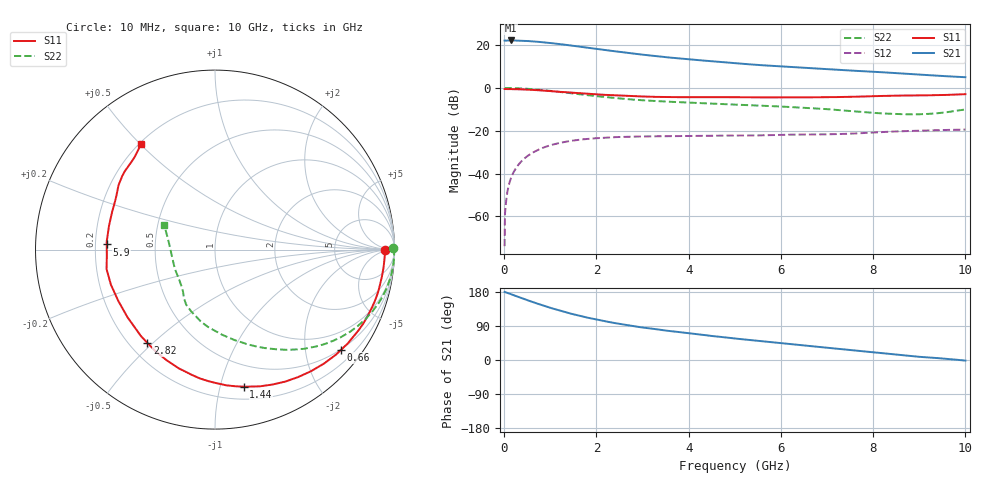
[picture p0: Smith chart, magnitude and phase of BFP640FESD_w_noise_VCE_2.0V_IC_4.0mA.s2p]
! Infineon Technologies  Discrete & RF Semiconductors
! BFP640FESD
! VCE =  2.0 V,  IC =  4.0 mA
! Common Emitter S-Parameters:  Jan 2016
# GHz  S  MA  R  50
!  f  S11  S21  S12  S22
! GHz  MAG  ANG  MAG  ANG  MAG  ANG  MAG  ANG
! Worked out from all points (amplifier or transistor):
!   233 points, 10 MHz to 10 GHz, reference 50 ohm
!   highest |S21| = 22.2 dB at 150 MHz (marker M1)
!   |S21| within 3 dB of that: start of sweep to 1.673 GHz
!   unconditionally stable (mu >= 1): 6.178 GHz to end of sweep
!   at 200 MHz: K = 0.01, MSG = 30.9 dB, |S12| = -39.6 dB
!   at 1.74 GHz: K = 0.24, MSG = 21.5 dB, |S12| = -23.9 dB
!   at 10 GHz: K = 1.26, MAG = 9.2 dB, |S12| = -19.4 dB
!   lowest NFmin = 0.49 dB at 450 MHz
!   S11 on the Smith chart (normalised r, x): 10 MHz: 36, -3; 660 MHz: 0.49, -2.78; 1.44 GHz: 0.30, -1.18; 2.82 GHz: 0.27, -0.48; 5.9 GHz: 0.25, +0.02; 10 GHz: 0.21, +0.50
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0.01  0.9466 -0.3  12.88 179.6  0.0002 135.3  0.9932 0.4
0.015  0.9466 -0.8  12.86 179.4  0.0007 92.1  0.9959 -0.2
0.02  0.9467 -1.2  12.84 179.2  0.0012 85.6  0.9988 -0.8
0.03  0.9464 -1.7  12.84 178.7  0.0017 86.9  0.9988 -1.1
0.09  0.9447 -5.3  12.91 176.3  0.0048 86.7  0.9981 -3.2
0.15  0.9422 -9.1  12.95 173.6  0.0079 85.2  0.9959 -5.5
0.4  0.9271 -23.7  12.76 162.6  0.0206 76.7  0.9735 -14.5
0.66  0.8969 -38.6  12.24 151.3  0.0326 68.1  0.9308 -23.4
0.9  0.8633 -51.7  11.6 141.6  0.0423 61.0  0.8817 -31.2
1.04  0.8411 -58.9  11.16 136.3  0.0471 57.1  0.8491 -35.4
1.24  0.8103 -68.9  10.54 129.1  0.0531 51.9  0.8024 -41.2
1.44  0.7802 -78.2  9.886 122.5  0.058 47.3  0.7561 -46.5
1.68  0.7472 -88.4  9.148 115.2  0.0626 42.5  0.7051 -52.2
2.2  0.6913 -107.1  7.707 101.9  0.0691 34.4  0.6139 -63.3
2.82  0.642 -126.0  6.35 89.0  0.0731 27.5  0.5332 -74.7
3.4  0.6179 -139.8  5.406 79.5  0.0745 23.7  0.4884 -82.7
4.5  0.612 -161.4  4.229 63.4  0.077 20.1  0.4325 -95.2
5.1  0.6112 -171.1  3.735 55.5  0.0774 19.1  0.4055 -101.7
5.9  0.604 177.3  3.264 45.9  0.08 19.3  0.3731 -109.8
6.8  0.6071 162.9  2.85 34.8  0.0822 19.1  0.3303 -120.6
8.4  0.6602 141.4  2.267 15.5  0.0956 20.7  0.2493 -151.3
10  0.718 125.1  1.789 -1.5  0.1066 16.1  0.3155 153.9
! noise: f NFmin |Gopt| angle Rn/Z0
0.45  0.49  0.6  7  0.15
2.4  0.72  0.32  55  0.13
5.5  1.03  0.42  148  0.08
10  1.94  0.53  -123  0.27
